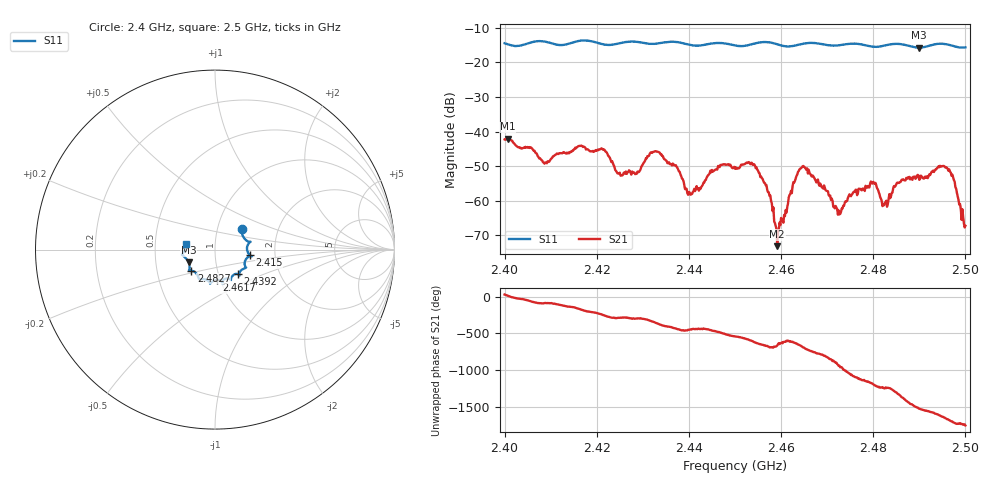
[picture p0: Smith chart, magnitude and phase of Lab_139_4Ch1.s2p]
# Hz S RI R 50
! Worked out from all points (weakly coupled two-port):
!   601 points, 2.4 GHz to 2.5 GHz, reference 50 ohm
!   highest |S21| = -42.08 dB at 2.4007 GHz (marker M1); lowest = -73.2 dB at 2.4592 GHz (marker M2)
!   lowest |S11| = -15.7 dB at 2.4898 GHz (marker M3), VSWR 1.39, Z = 36.8 - j5.43 ohm
!   |S11| at or under -10 dB: start of sweep to end of sweep
!   S12 and S22 are empty: the file has one direction only
!   S11 on the Smith chart (normalised r, x): 2.4 GHz: 1.31, +0.31; 2.415 GHz: 1.48, -0.10; 2.4392 GHz: 1.24, -0.35; 2.4617 GHz: 0.96, -0.34; 2.4827 GHz: 0.75, -0.18; 2.5 GHz: 0.72, +0.05
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2.4e9  0.1506 0.1148  0.00668 0.00381  0 0  0 0
2.400667e9  0.1498 0.1054  0.00762 0.00198  0 0  0 0
2.408667e9  0.1962 0.0425  0.00028 -0.00342  0 0  0 0
2.415e9  0.1936 -0.0313  -0.00449 -0.00317  0 0  0 0
2.416667e9  0.2037 -0.0382  -0.00625 -0.000292  0 0  0 0
2.4215e9  0.1747 -0.0507  -0.00178 0.00524  0 0  0 0
2.425167e9  0.1675 -0.0919  0.000596 0.00222  0 0  0 0
2.433333e9  0.1359 -0.1309  0.00501 -0.000727  0 0  0 0
2.439167e9  0.1275 -0.1358  -0.000277 -0.00144  0 0  0 0
2.45e9  0.0716 -0.1612  -0.0029 3.94e-05  0 0  0 0
2.4545e9  0.0398 -0.185  -0.000173 0.00295  0 0  0 0
2.459167e9  0.0375 -0.179  0.000121 0.000183  0 0  0 0
2.461667e9  0.00843 -0.17  -0.000517 0.000994  0 0  0 0
2.464333e9  -0.0221 -0.1826  0.00194 0.00222  0 0  0 0
2.466667e9  -0.027 -0.1899  0.00202 -0.000956  0 0  0 0
2.4725e9  -0.0658 -0.1641  -0.000537 0.000482  0 0  0 0
2.479833e9  -0.1032 -0.1341  -0.00047 -0.0017  0 0  0 0
2.482667e9  -0.1317 -0.1175  -0.000872 -0.000401  0 0  0 0
2.483333e9  -0.1375 -0.117  -0.00101 -0.000305  0 0  0 0
2.489833e9  -0.147 -0.0718  0.000345 -0.00228  0 0  0 0
2.496333e9  -0.1794 -0.0211  -0.00153 0.00222  0 0  0 0
2.5e9  -0.1622 0.0314  0.000299 0.000314  0 0  0 0
